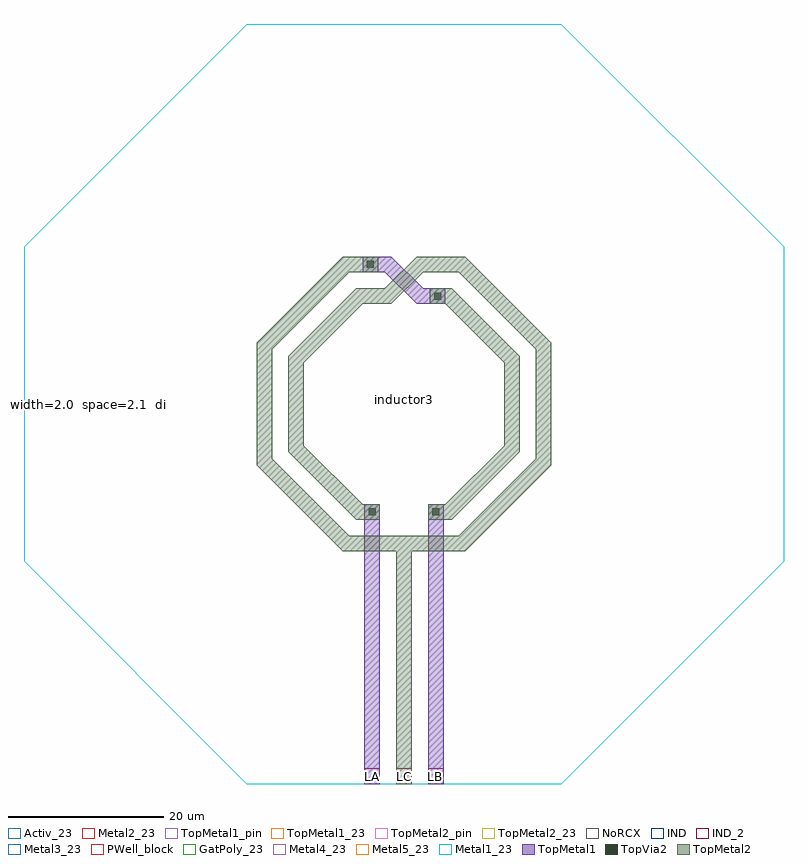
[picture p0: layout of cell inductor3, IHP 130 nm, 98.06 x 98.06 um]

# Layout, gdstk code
import gdstk
lib = gdstk.Library(unit=1e-6, precision=1e-09)
def R(c, l, rs):  # rectangles x0, y0, x1, y1
    for r in rs: c.add(gdstk.rectangle(r[:2], r[2:], *l))
def A(c, l, x, y, w, h, nx, ny, dx, dy):  # array of equal rectangles
    R(c, l, [(x+i*dx, y+j*dy, x+i*dx+w, y+j*dy+h) for i in range(nx) for j in range(ny)])
def P(c, l, *ps):  # polygons
    for p in ps: c.add(gdstk.Polygon(p, *l))
Activ_23 = (1, 23)
GatPoly_23 = (5, 23)
Metal1_23 = (8, 23)
Metal2_23 = (10, 23)
IND = (27, 0)
IND_2 = (27, 2)
Metal3_23 = (30, 23)
PWell_block = (46, 21)
Metal4_23 = (50, 23)
Metal5_23 = (67, 23)
TopMetal1 = (126, 0)
TopMetal1_pin = (126, 2)
TopMetal1_23 = (126, 23)
TopVia2 = (133, 0)
TopMetal2 = (134, 0)
TopMetal2_pin = (134, 2)
TopMetal2_23 = (134, 23)
NoRCX = (148, 0)

inductor3 = lib.new_cell('inductor3')
P(inductor3, Activ_23, [(-20.305,0),(-49.03,28.725),(-49.03,69.335),(-20.305,98.06),(20.305,98.06),(49.03,69.335),(49.03,28.725),(20.305,0)])
P(inductor3, GatPoly_23, [(-20.305,0),(-49.03,28.725),(-49.03,69.335),(-20.305,98.06),(20.305,98.06),(49.03,69.335),(49.03,28.725),(20.305,0)])
P(inductor3, Metal1_23, [(-20.305,0),(-49.03,28.725),(-49.03,69.335),(-20.305,98.06),(20.305,98.06),(49.03,69.335),(49.03,28.725),(20.305,0)])
P(inductor3, Metal2_23, [(-20.305,0),(-49.03,28.725),(-49.03,69.335),(-20.305,98.06),(20.305,98.06),(49.03,69.335),(49.03,28.725),(20.305,0)])
P(inductor3, IND, [(-20.305,0),(-49.03,28.725),(-49.03,69.335),(-20.305,98.06),(20.305,98.06),(49.03,69.335),(49.03,28.725),(20.305,0)])
A(inductor3, IND_2, -5.1, 0, 2, 2, 3, 1, 4.1, 0)
P(inductor3, Metal3_23, [(-20.305,0),(-49.03,28.725),(-49.03,69.335),(-20.305,98.06),(20.305,98.06),(49.03,69.335),(49.03,28.725),(20.305,0)])
P(inductor3, PWell_block, [(-20.305,0),(-49.03,28.725),(-49.03,69.335),(-20.305,98.06),(20.305,98.06),(49.03,69.335),(49.03,28.725),(20.305,0)])
P(inductor3, Metal4_23, [(-20.305,0),(-49.03,28.725),(-49.03,69.335),(-20.305,98.06),(20.305,98.06),(49.03,69.335),(49.03,28.725),(20.305,0)])
P(inductor3, Metal5_23, [(-20.305,0),(-49.03,28.725),(-49.03,69.335),(-20.305,98.06),(20.305,98.06),(49.03,69.335),(49.03,28.725),(20.305,0)])
P(inductor3, TopMetal1, [(1.65,61.94),(-2.46,66.05),(-5.34,66.05),(-5.34,68.05),(-1.65,68.05),(2.46,63.94),(5.34,63.94),(5.34,61.94)])
R(inductor3, TopMetal1_pin, [(-5.1,0,-3.1,2), (3.1,0,5.1,2)])
P(inductor3, TopMetal1_23, [(-20.305,0),(-49.03,28.725),(-49.03,69.335),(-20.305,98.06),(20.305,98.06),(49.03,69.335),(49.03,28.725),(20.305,0)])
R(inductor3, TopVia2, [(-4.55,34.65,-3.65,35.55), (3.65,34.65,4.55,35.55), (3.89,62.49,4.79,63.39), (-4.79,66.59,-3.89,67.49)])
R(inductor3, TopMetal2, [(-3.34,30,3.34,32)])
P(inductor3, TopMetal2, [(-7.88,30),(-19.025,41.145),(-19.025,56.905),(-7.88,68.05),(-3.34,68.05),(-3.34,66.05),(-7.05,66.05),(-17.025,56.075),(-17.025,41.975),(-7.05,32),(-3.34,32),(-3.34,30)],
  [(3.34,30),(3.34,32),(7.05,32),(17.025,41.975),(17.025,56.075),(7.05,66.05),(3.34,66.05),(3.34,68.05),(7.88,68.05),(19.025,56.905),(19.025,41.145),(7.88,30)],
  [(-3.34,61.94),(-3.34,63.94),(-2.47,63.94),(1.63,68.05),(3.34,68.05),(3.34,66.05),(2.47,66.05),(-1.63,61.94)],
  [(-6.18,34.1),(-14.92,42.84),(-14.92,55.2),(-6.18,63.94),(-3.34,63.94),(-3.34,61.94),(-5.35,61.94),(-12.92,54.37),(-12.92,43.67),(-5.35,36.1),(-3.1,36.1),(-3.1,34.1)],
  [(3.1,34.1),(3.1,36.1),(5.35,36.1),(12.92,43.67),(12.92,54.37),(5.35,61.94),(3.34,61.94),(3.34,63.94),(6.18,63.94),(14.92,55.2),(14.92,42.84),(6.18,34.1)])
R(inductor3, TopMetal2_pin, [(-1,0,1,2)])
P(inductor3, TopMetal2_23, [(-20.305,0),(-49.03,28.725),(-49.03,69.335),(-20.305,98.06),(20.305,98.06),(49.03,69.335),(49.03,28.725),(20.305,0)])
P(inductor3, NoRCX, [(-20.305,0),(-49.03,28.725),(-49.03,69.335),(-20.305,98.06),(20.305,98.06),(49.03,69.335),(49.03,28.725),(20.305,0)])
inductor3.add(gdstk.FlexPath([(-4.1,0),(-4.1,36.1)], 2, ends="flush", simple_path=True, layer=126, datatype=0))  # TopMetal1
inductor3.add(gdstk.FlexPath([(4.1,0),(4.1,36.1)], 2, ends="flush", simple_path=True, layer=126, datatype=0))  # TopMetal1
inductor3.add(gdstk.FlexPath([(0,0),(0,30)], 2, ends="flush", simple_path=True, layer=134, datatype=0))  # TopMetal2
inductor3.add(gdstk.Label('  width=2.0\n  space=2.1\n  diameter=25.35\n  turns=2', (-47.03,49.03), layer=63, texttype=0))
inductor3.add(gdstk.Label('inductor3', (0,49.59), layer=63, texttype=0))
inductor3.add(gdstk.Label('LA', (-4.1,1), layer=27, texttype=25))
inductor3.add(gdstk.Label('LB', (4.1,1), layer=27, texttype=25))
inductor3.add(gdstk.Label('LC', (0,1), layer=27, texttype=25))

lib.write_gds('inductor3.gds')
